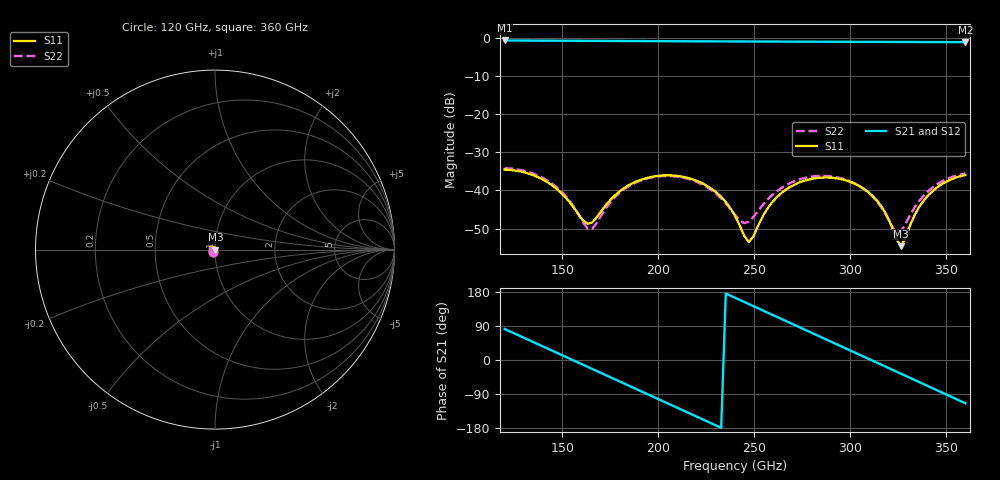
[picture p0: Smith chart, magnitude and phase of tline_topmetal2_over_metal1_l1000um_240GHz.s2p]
#  GHZ S DB R 50
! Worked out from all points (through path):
!   101 points, 120 GHz to 360 GHz, reference 50 ohm
!   highest |S21| = -0.75 dB at 120 GHz (marker M1); lowest = -1.2 dB at 360 GHz (marker M2)
!   group delay of S21, straight-line fit = 6.44 ps
!   lowest |S11| = -54.6 dB at 326.4 GHz (marker M3), VSWR 1.00, Z = 50.2 - j0.0565 ohm
!   |S11| at or under -10 dB: start of sweep to end of sweep
!   |S22| runs from -51.0 to -34.2 dB; largest |S21 - S12| = 1.1e-14
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120  -34.55 -132.5  -0.75 81.8  -0.75 81.8  -34.20 -131.1
129.6  -35.20 -160.9  -0.78 59.6  -0.78 59.6  -34.81 -158.8
141.6  -37.64 161.6  -0.81 31.9  -0.81 31.9  -37.21 164.9
151.2  -41.54 125.4  -0.83 9.7  -0.83 9.7  -41.11 131.1
160.8  -47.84 61.0  -0.85 -12.4  -0.85 -12.4  -48.31 72.5
165.6  -48.38 4.4  -0.87 -23.5  -0.87 -23.5  -50.07 9.5
182.4  -39.35 -94.7  -0.90 -62.4  -0.90 -62.4  -39.65 -96.6
201.6  -36.11 -154.8  -0.94 -106.8  -0.94 -106.8  -36.27 -156.3
223.2  -38.20 142.2  -0.98 -156.8  -0.98 -156.8  -38.53 137.8
232.8  -41.70 111.2  -1.00 -179.0  -1.00 -179.0  -42.11 101.6
240  -46.68 79.7  -1.01 164.3  -1.01 164.3  -46.43 59.3
247.2  -53.50 -1.5  -1.02 147.6  -1.02 147.6  -48.20 -16.3
261.6  -41.86 -115.3  -1.05 114.2  -1.05 114.2  -40.30 -105.0
280.8  -36.90 -173.2  -1.08 69.7  -1.08 69.7  -36.34 -166.2
292.8  -36.82 153.6  -1.10 41.9  -1.10 41.9  -36.54 159.2
304.8  -38.87 119.8  -1.12 14.0  -1.12 14.0  -38.86 123.2
314.4  -42.94 89.1  -1.13 -8.2  -1.13 -8.2  -43.20 88.3
321.6  -49.36 52.6  -1.14 -25.0  -1.14 -25.0  -49.23 40.3
326.4  -54.60 -17.6  -1.15 -36.1  -1.15 -36.1  -50.82 -27.6
333.6  -46.42 -101.9  -1.16 -52.8  -1.16 -52.8  -44.44 -91.4
340.8  -41.20 -130.9  -1.17 -69.6  -1.17 -69.6  -40.14 -121.2
360  -35.97 174.5  -1.20 -114.2  -1.20 -114.2  -35.58 -178.4
